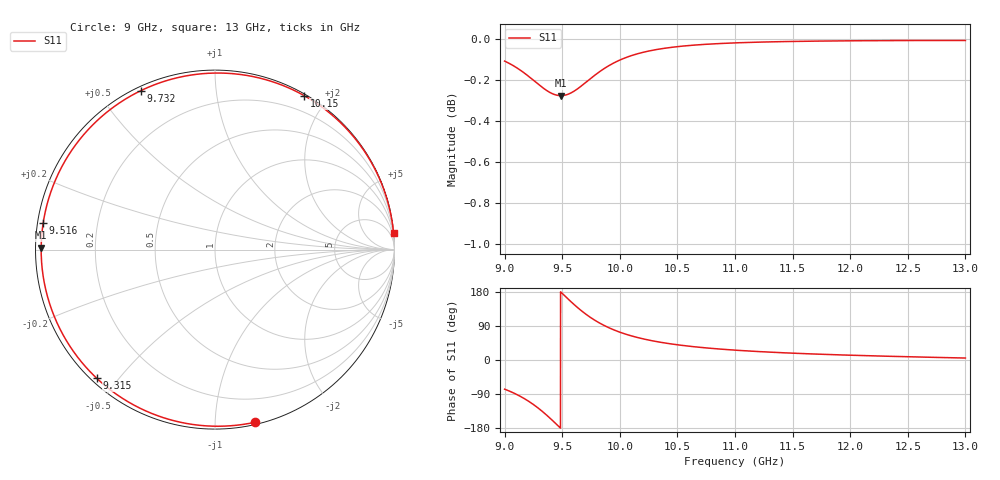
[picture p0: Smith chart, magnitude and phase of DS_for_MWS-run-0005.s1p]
! TOUCHSTONE file generated by CST DESIGN STUDIO
! Date and time: Tue Feb  4 12:28:39 2025
! Project name: C:\Work\MatlabApps\UnitCellOptimizationMatlab\CST\unitcell.cst
! Tree item: Tasks\Sweep1\SPara1\S-Parameters
! Header version: 2024
! Port assignment regex: !\s*Touchstone port\s*([0-9]+)\s*=\s*(CST MWS port|CST DES external port|CST DES block port)\s*(.+)\s* \(\"(.*)\"\)(\s*mode\s*([0-9]+))?.*
! Touchstone port assignment:
! Touchstone port 1 = CST DES external port 1 ("")
# GHz S MA R 50
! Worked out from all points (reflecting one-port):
!   4001 points, 9 GHz to 13 GHz, reference 50 ohm
!   lowest |S11| = -0.3 dB at 9.488 GHz (marker M1), VSWR 62.67, Z = 0.798 + j0.292 ohm
!   phase of S11 starts at -77 deg and turns -278 deg over the sweep
!   S11 on the Smith chart (normalised r, x): 9 GHz: 0.02, -1.26; 9.315 GHz: 0.02, -0.44; 9.516 GHz: 0.02, +0.08; 9.732 GHz: 0.02, +0.64; 10.15 GHz: 0.02, +1.74; 13 GHz: 0, +22
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9  0.9875 -76.9
9.081  0.9848 -87.4
9.18  0.9805 -103.5
9.25  0.977 -117.5
9.315  0.9737 -132.6
9.361  0.9716 -144.4
9.409  0.9698 -157.7
9.449  0.9689 -169.2
9.488  0.9686 179.3
9.5  0.9686 175.8
9.516  0.9687 171.1
9.569  0.9698 155.8
9.628  0.9721 139.7
9.679  0.9745 127.0
9.732  0.9772 115.1
9.786  0.9799 104.3
9.846  0.9826 93.9
9.922  0.9856 82.8
10  0.9881 73.4
10.147  0.9914 59.9
10.307  0.9938 49.3
10.5  0.9955 40.2
10.722  0.9967 32.7
11  0.9976 26.0
11.5  0.9984 18.0
12  0.9988 12.6
12.5  0.9989 8.6
13  0.999 5.2
